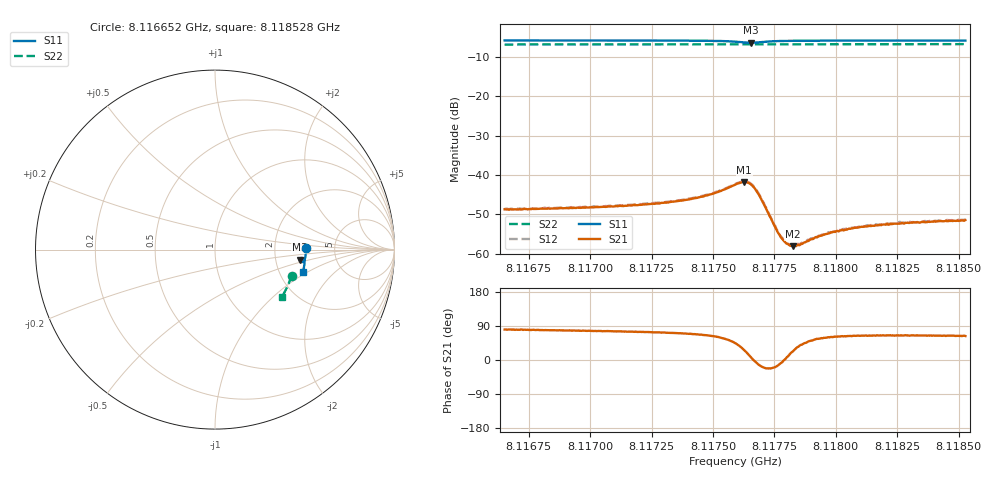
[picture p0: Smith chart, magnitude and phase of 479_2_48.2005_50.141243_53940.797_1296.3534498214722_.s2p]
#  HZ  S  RI  R  50.00
! Rohde & Schwarz Vector Network Analyzer
! Rohde-Schwarz,ZNB20-2Port,1311601062101988,3.16
! Created: UTC 3/20/2024, 11:57:35 AM
! freq[Hz]  re:S11  im:S11  re:S21  im:S21  re:S12  im:S12  re:S22  im:S22
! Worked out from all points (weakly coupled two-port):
!   401 points, 8.116652 GHz to 8.118528 GHz, reference 50 ohm
!   highest |S21| = -41.76 dB at 8.117627 GHz (marker M1); lowest = -58.0 dB at 8.117824 GHz (marker M2)
!   lowest |S11| = -6.5 dB at 8.117655 GHz (marker M3), VSWR 2.80, Z = 137 - j19.9 ohm
!   |S11| at or under -10 dB: nowhere
!   |S22| runs from -6.9 to -6.8 dB; largest |S21 - S12| = 0.00022
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8.1166518e9  0.5068 0.0105  0.000615 0.00362  0.000679 0.00367  0.4264 -0.1454
8.116966e9  0.5063 -0.0138  0.00087 0.00376  0.000895 0.00379  0.4197 -0.166
8.1172802e9  0.5039 -0.0394  0.00128 0.00416  0.00131 0.00427  0.4118 -0.1865
8.1173833e9  0.5021 -0.0488  0.00164 0.00452  0.00173 0.00461  0.409 -0.1933
8.117449e9  0.5001 -0.0554  0.00205 0.00486  0.00211 0.0049  0.4071 -0.1975
8.117524e9  0.4954 -0.064  0.00306 0.00537  0.00319 0.00538  0.4046 -0.2024
8.1175897e9  0.4845 -0.0702  0.00534 0.00529  0.00546 0.00538  0.4023 -0.2067
8.1176272e9  0.474 -0.0665  0.00732 0.00363  0.00748 0.00363  0.4008 -0.2086
8.1176412e9  0.4711 -0.0619  0.00768 0.0023  0.00784 0.00234  0.4005 -0.2093
8.1176553e9  0.4708 -0.0563  0.00752 0.000892  0.00766 0.000912  0.4 -0.2097
8.1176741e9  0.4744 -0.0498  0.00645 -0.000637  0.00662 -0.000738  0.3997 -0.2106
8.1176928e9  0.4803 -0.0468  0.00502 -0.00138  0.00513 -0.00146  0.3995 -0.2117
8.1177538e9  0.4939 -0.0524  0.00206 -0.00069  0.00214 -0.000711  0.3982 -0.2158
8.1177725e9  0.4959 -0.0552  0.00168 -0.000298  0.00169 -0.000349  0.3979 -0.2171
8.117796e9  0.4973 -0.0586  0.00138 8.23e-05  0.00143 7.78e-05  0.397 -0.2186
8.1178241e9  0.4982 -0.0624  0.00116 0.000473  0.00117 0.000449  0.3962 -0.2205
8.1178569e9  0.4986 -0.0663  0.00102 0.000849  0.00106 0.000864  0.3952 -0.2228
8.1179038e9  0.499 -0.0714  0.000964 0.00119  0.000942 0.00124  0.3937 -0.2255
8.1179835e9  0.4986 -0.079  0.000919 0.00164  0.000943 0.00161  0.3911 -0.2305
8.1180445e9  0.4979 -0.0845  0.000925 0.00181  0.000961 0.00185  0.3891 -0.2345
8.118218e9  0.4956 -0.0986  0.001 0.00214  0.00103 0.0022  0.383 -0.2448
8.1185275e9  0.4902 -0.122  0.0012 0.0024  0.00119 0.00245  0.3717 -0.2635
